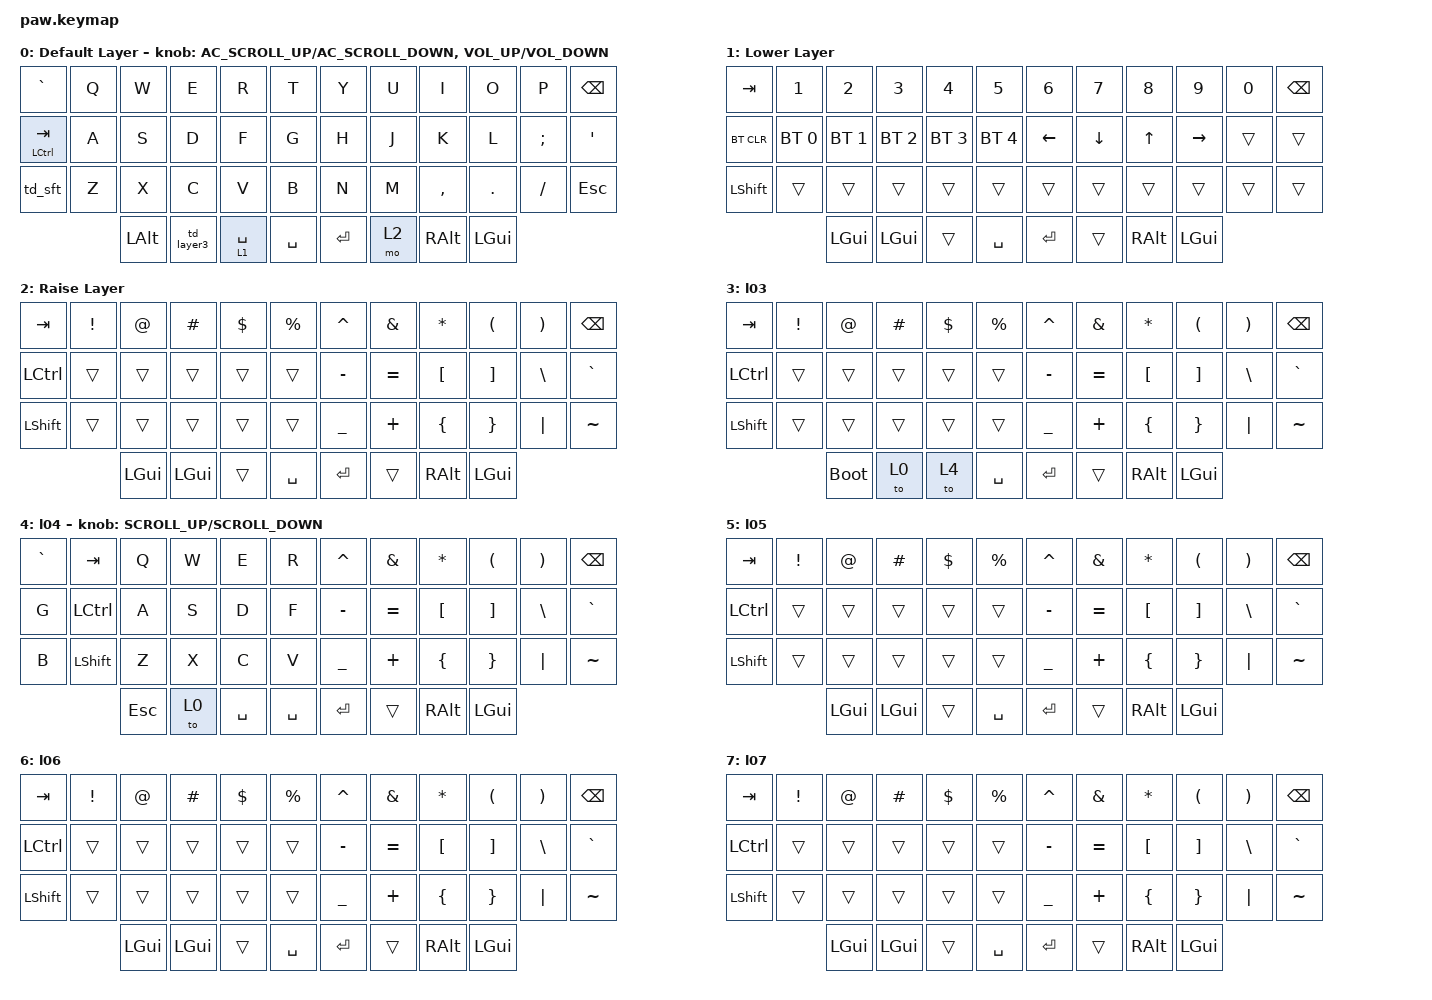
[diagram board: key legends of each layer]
/*
 * Copyright (c) 2020 The ZMK Contributors
 *
 * SPDX-License-Identifier: MIT
 */

#include <behaviors.dtsi>
#include <dt-bindings/zmk/bt.h>
#include <dt-bindings/zmk/keys.h>

/ {
    combos {
        compatible = "zmk,combos";

        esc {
            bindings = <&kp ESCAPE>;
            key-positions = <0 1>;
        };
    };

    behaviors {
        td_layer3: td_layer3 {
            compatible = "zmk,behavior-tap-dance";
            label = "TD_LAYER3";
            #binding-cells = <0>;
            tapping-term-ms = <150>;
            bindings = <&lt 3 LCTRL>, <&to 3>;
        };

        td_sft: td_sft {
            compatible = "zmk,behavior-tap-dance";
            label = "TD_SFT";
            #binding-cells = <0>;
            bindings = <&kp LEFT_SHIFT>, <&kp CAPSLOCK>;

            tapping-term-ms = <150>;
        };
    };

    keymap {
        compatible = "zmk,keymap";

        layer0 {
            display-name = "Default Layer";

            // -----------------------------------------------------------------------------------------
            // |  TAB |  Q  |  W  |  E  |  R  |  T  |   |  Y  |  U   |  I  |  O  |  P  | BSPC |
            // | CTRL |  A  |  S  |  D  |  F  |  G  |   |  H  |  J   |  K  |  L  |  ;  |  '   |
            // | SHFT |  Z  |  X  |  C  |  V  |  B  |   |  N  |  M   |  ,  |  .  |  /  | ESC  |
            //                    | GUI | LWR | SPC |   | ENT | RSE  | ALT |

            bindings = <
&kp GRAVE      &kp Q  &kp W         &kp E       &kp R        &kp T          &kp Y    &kp U  &kp I      &kp O     &kp P     &kp BSPC
&mt LCTRL TAB  &kp A  &kp S         &kp D       &kp F        &kp G          &kp H    &kp J  &kp K      &kp L     &kp SEMI  &kp SQT
&td_sft        &kp Z  &kp X         &kp C       &kp V        &kp B          &kp N    &kp M  &kp COMMA  &kp DOT   &kp FSLH  &kp ESC
                      &kp LEFT_ALT  &td_layer3  &lt 1 SPACE  &kp SPACE      &kp RET  &mo 2  &kp RALT   &kp LGUI
            >;

            sensor-bindings =
                <&inc_dec_kp C_AC_SCROLL_UP C_AC_SCROLL_DOWN>,
                <&inc_dec_kp C_VOLUME_UP C_VOLUME_DOWN>;
        };

        layer1 {
            display-name = "Lower Layer";

            // -----------------------------------------------------------------------------------------
            // |  TAB |  1  |  2  |  3  |  4  |  5  |   |  6  |  7  |  8  |  9  |  0  | BSPC |
            // | BTCLR| BT1 | BT2 | BT3 | BT4 | BT5 |   | LFT | DWN |  UP | RGT |     |      |
            // | SHFT |     |     |     |     |     |   |     |     |     |     |     |      |
            //                    | GUI |     | SPC |   | ENT |     | ALT |

            bindings = <
&kp TAB     &kp N1        &kp N2        &kp N3        &kp N4        &kp N5            &kp N6    &kp N7    &kp N8    &kp N9     &kp N0  &kp BSPC
&bt BT_CLR  &bt BT_SEL 0  &bt BT_SEL 1  &bt BT_SEL 2  &bt BT_SEL 3  &bt BT_SEL 4      &kp LEFT  &kp DOWN  &kp UP    &kp RIGHT  &trans  &trans
&kp LSHFT   &trans        &trans        &trans        &trans        &trans            &trans    &trans    &trans    &trans     &trans  &trans
                          &kp LGUI      &kp LGUI      &trans        &kp SPACE         &kp RET   &trans    &kp RALT  &kp LGUI
            >;
        };

        layer2 {
            display-name = "Raise Layer";

            // -----------------------------------------------------------------------------------------
            // |  TAB |  !  |  @  |  #  |  $  |  %  |   |  ^  |  &  |  *  |  (  |  )  | BSPC |
            // | CTRL |     |     |     |     |     |   |  -  |  =  |  [  |  ]  |  \  |  `   |
            // | SHFT |     |     |     |     |     |   |  _  |  +  |  {  |  }  | "|" |  ~   |
            //                    | GUI |     | SPC |   | ENT |     | ALT |

            bindings = <
&kp TAB    &kp EXCL  &kp AT    &kp HASH  &kp DLLR  &kp PRCNT      &kp CARET  &kp AMPS   &kp ASTRK  &kp LPAR  &kp RPAR  &kp BSPC
&kp LCTRL  &trans    &trans    &trans    &trans    &trans         &kp MINUS  &kp EQUAL  &kp LBKT   &kp RBKT  &kp BSLH  &kp GRAVE
&kp LSHFT  &trans    &trans    &trans    &trans    &trans         &kp UNDER  &kp PLUS   &kp LBRC   &kp RBRC  &kp PIPE  &kp TILDE
                     &kp LGUI  &kp LGUI  &trans    &kp SPACE      &kp RET    &trans     &kp RALT   &kp LGUI
            >;
        };

        layer3 {
            display-name = "l03";

            // -----------------------------------------------------------------------------------------
            // |  TAB |  !  |  @  |  #  |  $  |  %  |   |  ^  |  &  |  *  |  (  |  )  | BSPC |
            // | CTRL |     |     |     |     |     |   |  -  |  =  |  [  |  ]  |  \  |  `   |
            // | SHFT |     |     |     |     |     |   |  _  |  +  |  {  |  }  | "|" |  ~   |
            //                    | GUI |     | SPC |   | ENT |     | ALT |

            bindings = <
&kp TAB    &kp EXCL  &kp AT       &kp HASH  &kp DLLR  &kp PRCNT      &kp CARET  &kp AMPS   &kp ASTRK  &kp LPAR  &kp RPAR  &kp BSPC
&kp LCTRL  &trans    &trans       &trans    &trans    &trans         &kp MINUS  &kp EQUAL  &kp LBKT   &kp RBKT  &kp BSLH  &kp GRAVE
&kp LSHFT  &trans    &trans       &trans    &trans    &trans         &kp UNDER  &kp PLUS   &kp LBRC   &kp RBRC  &kp PIPE  &kp TILDE
                     &bootloader  &to 0     &to 4     &kp SPACE      &kp RET    &trans     &kp RALT   &kp LGUI
            >;
        };

        layer4 {
            display-name = "l04";

            // -----------------------------------------------------------------------------------------
            // |  TAB |  !  |  @  |  #  |  $  |  %  |   |  ^  |  &  |  *  |  (  |  )  | BSPC |
            // | CTRL |     |     |     |     |     |   |  -  |  =  |  [  |  ]  |  \  |  `   |
            // | SHFT |     |     |     |     |     |   |  _  |  +  |  {  |  }  | "|" |  ~   |
            //                    | GUI |     | SPC |   | ENT |     | ALT |

            bindings = <
&kp GRAVE  &kp TAB         &kp Q       &kp W  &kp E      &kp R          &kp CARET  &kp AMPS   &kp ASTRK  &kp LPAR  &kp RPAR  &kp BSPC
&kp G      &kp LCTRL       &kp A       &kp S  &kp D      &kp F          &kp MINUS  &kp EQUAL  &kp LBKT   &kp RBKT  &kp BSLH  &kp GRAVE
&kp B      &kp LEFT_SHIFT  &kp Z       &kp X  &kp C      &kp V          &kp UNDER  &kp PLUS   &kp LBRC   &kp RBRC  &kp PIPE  &kp TILDE
                           &kp ESCAPE  &to 0  &kp SPACE  &kp SPACE      &kp RET    &trans     &kp RALT   &kp LGUI
            >;

            sensor-bindings = <&inc_dec_kp K_SCROLL_UP K_SCROLL_DOWN>;
        };

        layer5 {
            display-name = "l05";

            // -----------------------------------------------------------------------------------------
            // |  TAB |  !  |  @  |  #  |  $  |  %  |   |  ^  |  &  |  *  |  (  |  )  | BSPC |
            // | CTRL |     |     |     |     |     |   |  -  |  =  |  [  |  ]  |  \  |  `   |
            // | SHFT |     |     |     |     |     |   |  _  |  +  |  {  |  }  | "|" |  ~   |
            //                    | GUI |     | SPC |   | ENT |     | ALT |

            bindings = <
&kp TAB    &kp EXCL  &kp AT    &kp HASH  &kp DLLR  &kp PRCNT      &kp CARET  &kp AMPS   &kp ASTRK  &kp LPAR  &kp RPAR  &kp BSPC
&kp LCTRL  &trans    &trans    &trans    &trans    &trans         &kp MINUS  &kp EQUAL  &kp LBKT   &kp RBKT  &kp BSLH  &kp GRAVE
&kp LSHFT  &trans    &trans    &trans    &trans    &trans         &kp UNDER  &kp PLUS   &kp LBRC   &kp RBRC  &kp PIPE  &kp TILDE
                     &kp LGUI  &kp LGUI  &trans    &kp SPACE      &kp RET    &trans     &kp RALT   &kp LGUI
            >;
        };

        layer6 {
            display-name = "l06";

            // -----------------------------------------------------------------------------------------
            // |  TAB |  !  |  @  |  #  |  $  |  %  |   |  ^  |  &  |  *  |  (  |  )  | BSPC |
            // | CTRL |     |     |     |     |     |   |  -  |  =  |  [  |  ]  |  \  |  `   |
            // | SHFT |     |     |     |     |     |   |  _  |  +  |  {  |  }  | "|" |  ~   |
            //                    | GUI |     | SPC |   | ENT |     | ALT |

            bindings = <
&kp TAB    &kp EXCL  &kp AT    &kp HASH  &kp DLLR  &kp PRCNT      &kp CARET  &kp AMPS   &kp ASTRK  &kp LPAR  &kp RPAR  &kp BSPC
&kp LCTRL  &trans    &trans    &trans    &trans    &trans         &kp MINUS  &kp EQUAL  &kp LBKT   &kp RBKT  &kp BSLH  &kp GRAVE
&kp LSHFT  &trans    &trans    &trans    &trans    &trans         &kp UNDER  &kp PLUS   &kp LBRC   &kp RBRC  &kp PIPE  &kp TILDE
                     &kp LGUI  &kp LGUI  &trans    &kp SPACE      &kp RET    &trans     &kp RALT   &kp LGUI
            >;
        };

        layer7 {
            display-name = "l07";

            // -----------------------------------------------------------------------------------------
            // |  TAB |  !  |  @  |  #  |  $  |  %  |   |  ^  |  &  |  *  |  (  |  )  | BSPC |
            // | CTRL |     |     |     |     |     |   |  -  |  =  |  [  |  ]  |  \  |  `   |
            // | SHFT |     |     |     |     |     |   |  _  |  +  |  {  |  }  | "|" |  ~   |
            //                    | GUI |     | SPC |   | ENT |     | ALT |

            bindings = <
&kp TAB    &kp EXCL  &kp AT    &kp HASH  &kp DLLR  &kp PRCNT      &kp CARET  &kp AMPS   &kp ASTRK  &kp LPAR  &kp RPAR  &kp BSPC
&kp LCTRL  &trans    &trans    &trans    &trans    &trans         &kp MINUS  &kp EQUAL  &kp LBKT   &kp RBKT  &kp BSLH  &kp GRAVE
&kp LSHFT  &trans    &trans    &trans    &trans    &trans         &kp UNDER  &kp PLUS   &kp LBRC   &kp RBRC  &kp PIPE  &kp TILDE
                     &kp LGUI  &kp LGUI  &trans    &kp SPACE      &kp RET    &trans     &kp RALT   &kp LGUI
            >;
        };
    };
};
